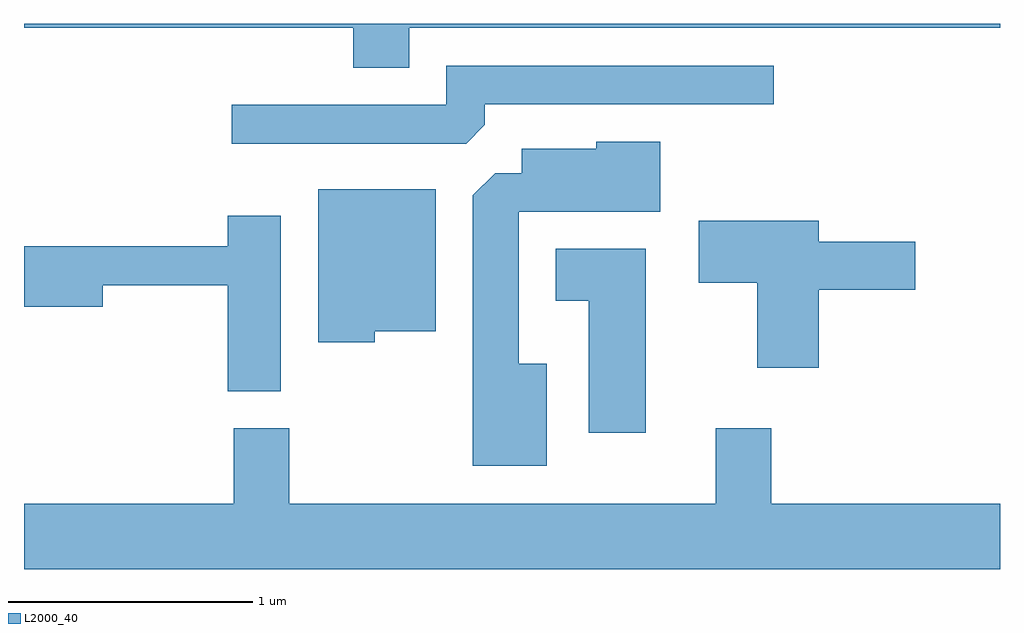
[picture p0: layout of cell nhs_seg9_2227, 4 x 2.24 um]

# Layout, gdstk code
import gdstk
lib = gdstk.Library(unit=1e-6, precision=1e-09)
def P(c, l, *ps):  # polygons
    for p in ps: c.add(gdstk.Polygon(p, *l))
L2000_40 = (2000, 40)

nhs_seg9_2227 = lib.new_cell('nhs_seg9_2227')
P(nhs_seg9_2227, L2000_40, [(251.189,2058.416),(253.611,2058.416),(253.611,2058.432),(249.611,2058.432),(249.611,2058.416),(250.961,2058.416),(250.961,2058.251),(251.189,2058.251)],
  [(251.499,2058.017),(251.499,2058.101),(252.683,2058.101),(252.683,2058.259),(251.341,2058.259),(251.341,2058.099),(250.463,2058.099),(250.463,2057.941),(251.424,2057.941)],
  [(251.754,2057.039),(251.639,2057.039),(251.639,2057.661),(252.219,2057.661),(252.219,2057.949),(251.956,2057.949),(251.956,2057.919),(251.651,2057.919),(251.651,2057.819),(251.542,2057.819),(251.451,2057.729),(251.451,2056.621),(251.754,2056.621)],
  [(251.049,2057.171),(251.299,2057.171),(251.299,2057.754),(250.816,2057.754),(250.816,2057.126),(251.049,2057.126)],
  [(250.664,2057.644),(250.446,2057.644),(250.446,2057.519),(249.611,2057.519),(249.611,2057.271),(249.934,2057.271),(249.934,2057.361),(250.446,2057.361),(250.446,2056.926),(250.664,2056.926)],
  [(252.869,2057.341),(253.264,2057.341),(253.264,2057.539),(252.869,2057.539),(252.869,2057.624),(252.376,2057.624),(252.376,2057.371),(252.616,2057.371),(252.616,2057.021),(252.869,2057.021)],
  [(252.159,2057.509),(251.791,2057.509),(251.791,2057.296),(251.926,2057.296),(251.926,2056.756),(252.159,2056.756)],
  [(253.611,2056.464),(252.674,2056.464),(252.674,2056.774),(252.446,2056.774),(252.446,2056.464),(250.699,2056.464),(250.699,2056.774),(250.471,2056.774),(250.471,2056.464),(249.611,2056.464),(249.611,2056.196),(253.611,2056.196)])

lib.write_gds('nhs_seg9_2227.gds')
